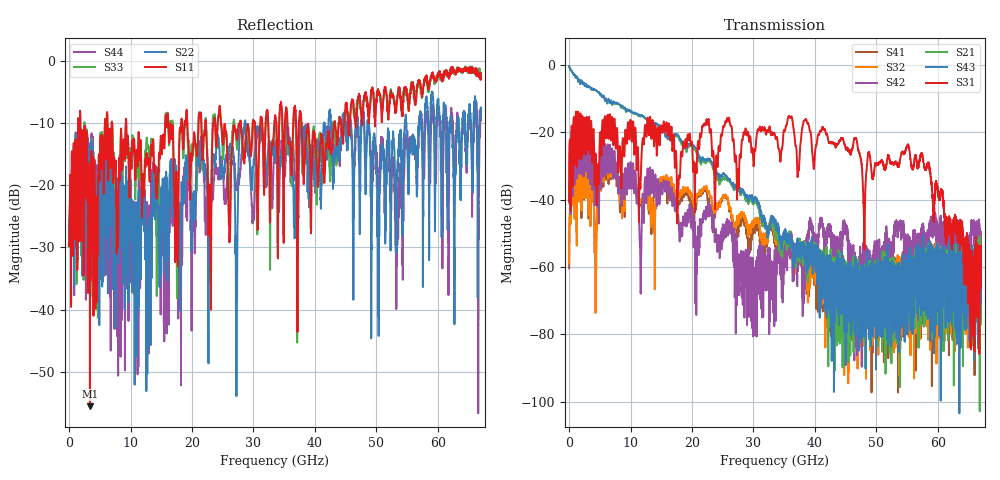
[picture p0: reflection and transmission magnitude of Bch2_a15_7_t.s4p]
!Agilent Technologies,N5247A,US51170199,A.09.90.13
!Agilent N5247A: A.09.90.13
!Date: Monday, October 22, 2018 16:21:05
!Correction: S11(Full 4 Port(1,2,3,4))
!S12(Full 4 Port(1,2,3,4))
!S13(Full 4 Port(1,2,3,4))
!S14(Full 4 Port(1,2,3,4))
!S21(Full 4 Port(1,2,3,4))
!S22(Full 4 Port(1,2,3,4))
!S23(Full 4 Port(1,2,3,4))
!S24(Full 4 Port(1,2,3,4))
!S31(Full 4 Port(1,2,3,4))
!S32(Full 4 Port(1,2,3,4))
!S33(Full 4 Port(1,2,3,4))
!S34(Full 4 Port(1,2,3,4))
!S41(Full 4 Port(1,2,3,4))
!S42(Full 4 Port(1,2,3,4))
!S43(Full 4 Port(1,2,3,4))
!S44(Full 4 Port(1,2,3,4))
!S4P File: Measurements: <S11,S12,S13,S14>,
!<S21,S22,S23,S24>,
!<S31,S32,S33,S34>,
!<S41,S42,S43,S44>:
# Hz S  dB  R 50
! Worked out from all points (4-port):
!   6701 points, 10 MHz to 67 GHz, reference 50 ohm
!   strongest paths, dB at 10 MHz, 16.76 GHz, 33.51 GHz, 50.25 GHz, 67 GHz:
!     S31: -40.4, -22.1, -20.7, -29.4, -60.4
!     S43: -0.3, -21.7, -47.0, -66.8, -66.5
!     S21: -0.3, -21.5, -49.4, -73.6, -77.0
!     S42: -41.0, -40.1, -63.5, -52.4, -51.3
!     S32: -58.6, -36.7, -50.0, -72.1, -61.8
!     S41: -60.3, -39.0, -53.3, -63.2, -58.6
!   lowest |S11| = -55.6 dB at 3.389 GHz (marker M1), VSWR 1.00, Z = 49.8 + j0.0699 ohm
!   |S11| at or under -10 dB: 1.821 GHz to 5.826 GHz (4.005 GHz wide, 105 % of centre); 9.303 GHz to 15.63 GHz (6.327 GHz wide, 50.8 % of centre); 37.82 GHz to 43.11 GHz (5.288 GHz wide, 13.1 % of centre)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
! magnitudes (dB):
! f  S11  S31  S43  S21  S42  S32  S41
! 10 MHz  -29.8  -40.4  -0.3  -0.3  -41.0  -58.6  -60.3
! 3.389 GHz  -55.6  -24.0  -6.5  -6.5  -31.9  -36.0  -36.7
! 11.6 GHz  -12.9  -36.7  -15.0  -15.2  -58.8  -40.3  -41.2
! 12.87 GHz  -15.6  -17.1  -16.5  -16.5  -32.7  -41.9  -39.0
! 30.26 GHz  -10.1  -25.3  -39.9  -40.4  -69.3  -46.5  -49.5
! 55.07 GHz  -5.4  -23.8  -58.5  -66.6  -50.4  -78.7  -66.1
! 67 GHz  -1.9  -60.4  -66.5  -77.0  -51.3  -61.8  -58.6
